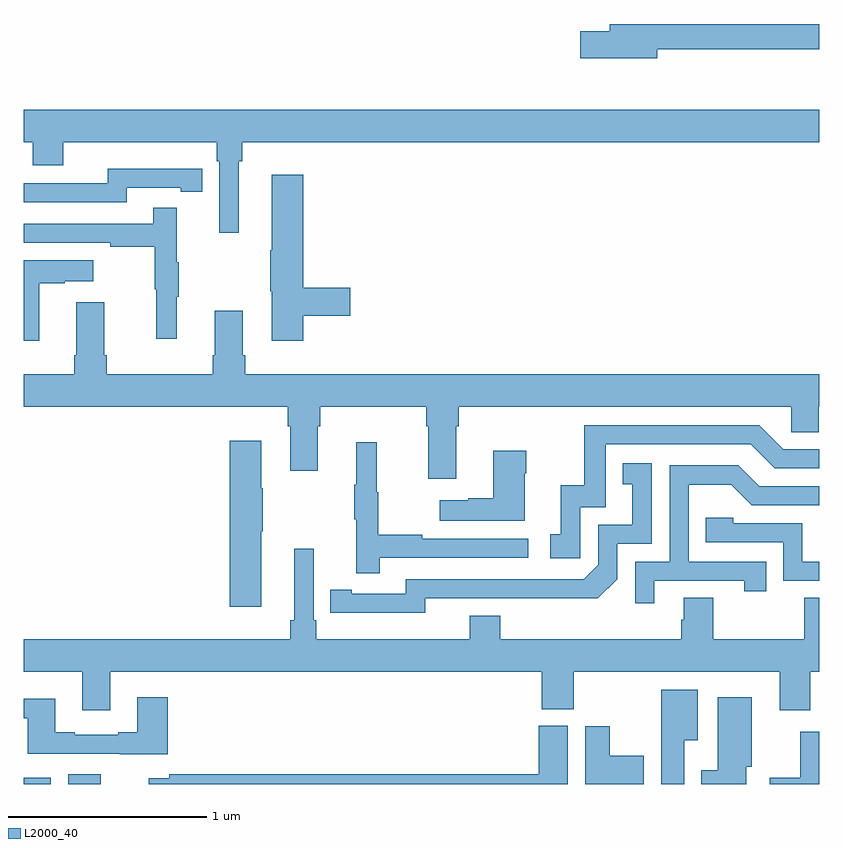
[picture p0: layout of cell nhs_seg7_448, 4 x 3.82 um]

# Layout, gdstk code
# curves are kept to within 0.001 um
import gdstk
lib = gdstk.Library(unit=1e-6, precision=1e-09)
def R(c, l, rs):  # rectangles x0, y0, x1, y1
    for r in rs: c.add(gdstk.rectangle(r[:2], r[2:], *l))
def P(c, l, *ps):  # polygons
    for p in ps: c.add(gdstk.Polygon(p, *l))
L2000_40 = (2000, 40)

nhs_seg7_448 = lib.new_cell('nhs_seg7_448')
R(nhs_seg7_448, L2000_40, [(145,1052,145.135,1052.032), (145.223,1052,145.387,1052.05)])
P(nhs_seg7_448, L2000_40, [(148.186,1055.694),(149,1055.694),(149,1055.822),(147.947,1055.822),(147.947,1055.786),(147.798,1055.786),(147.798,1055.651),(148.186,1055.651)],
  [(146.08,1055.132),(146.099,1055.132),(146.099,1055.228),(149,1055.228),(149,1055.392),(145,1055.392),(145,1055.228),(145.046,1055.228),(145.046,1055.111),(145.198,1055.111),(145.198,1055.228),(145.97,1055.228),(145.97,1055.132),(145.983,1055.132),(145.983,1054.773),(146.08,1054.773)],
  [(145.518,1054.998),(145.79,1054.998),(145.79,1054.978),(145.898,1054.978),(145.898,1055.094),(145.79,1055.094),(145.79,1055.095),(145.422,1055.095),(145.422,1055.022),(145,1055.022),(145,1054.926),(145.518,1054.926)],
  [(146.405,1054.354),(146.641,1054.354),(146.641,1054.496),(146.405,1054.496),(146.405,1055.065),(146.246,1055.065),(146.246,1054.685),(146.239,1054.685),(146.239,1054.479),(146.246,1054.479),(146.246,1054.23),(146.405,1054.23)],
  [(145.769,1054.451),(145.78,1054.451),(145.78,1054.625),(145.769,1054.625),(145.769,1054.897),(145.651,1054.897),(145.651,1054.818),(145,1054.818),(145,1054.722),(145.435,1054.722),(145.435,1054.702),(145.659,1054.702),(145.659,1054.488),(145.666,1054.488),(145.666,1054.239),(145.769,1054.239)],
  [(145.078,1054.519),(145.205,1054.519),(145.205,1054.529),(145.348,1054.529),(145.348,1054.633),(145,1054.633),(145,1054.23),(145.078,1054.23)],
  [(147.175,1053.8),(147.188,1053.8),(147.188,1053.896),(148.86,1053.896),(148.86,1053.769),(148.999,1053.769),(148.999,1053.896),(149,1053.896),(149,1054.06),(146.114,1054.06),(146.114,1054.156),(146.101,1054.156),(146.101,1054.381),(145.961,1054.381),(145.961,1054.156),(145.949,1054.156),(145.949,1054.06),(145.418,1054.06),(145.418,1054.156),(145.405,1054.156),(145.405,1054.423),(145.265,1054.423),(145.265,1054.156),(145.253,1054.156),(145.253,1054.06),(145,1054.06),(145,1053.896),(146.327,1053.896),(146.327,1053.8),(146.339,1053.8),(146.339,1053.576),(146.479,1053.576),(146.479,1053.8),(146.492,1053.8),(146.492,1053.896),(147.023,1053.896),(147.023,1053.8),(147.035,1053.8),(147.035,1053.534),(147.175,1053.534)],
  [(147.798,1053.393),(147.927,1053.393),(147.927,1053.708),(148.656,1053.708),(148.776,1053.588),(149,1053.588),(149,1053.684),(148.818,1053.684),(148.698,1053.804),(147.819,1053.804),(147.819,1053.502),(147.701,1053.502),(147.701,1053.255),(147.648,1053.255),(147.648,1053.135),(147.798,1053.135)],
  [(146.194,1053.271),(146.202,1053.271),(146.202,1053.488),(146.194,1053.488),(146.194,1053.727),(146.036,1053.727),(146.036,1052.892),(146.194,1052.892)],
  [(146.789,1053.138),(147.538,1053.138),(147.538,1053.234),(147.005,1053.234),(147.005,1053.254),(146.782,1053.254),(146.782,1053.468),(146.774,1053.468),(146.774,1053.718),(146.672,1053.718),(146.672,1053.505),(146.661,1053.505),(146.661,1053.331),(146.672,1053.331),(146.672,1053.06),(146.789,1053.06)],
  [(147.52,1053.563),(147.528,1053.563),(147.528,1053.676),(147.362,1053.676),(147.362,1053.437),(147.236,1053.437),(147.236,1053.427),(147.093,1053.427),(147.093,1053.323),(147.52,1053.323)],
  [(147.018,1052.934),(147.886,1052.933),(147.984,1053.03),(147.984,1053.207),(148.158,1053.207),(148.158,1053.613),(148.012,1053.613),(148.012,1053.507),(148.061,1053.507),(148.061,1053.303),(147.888,1053.303),(147.888,1053.102),(147.816,1053.03),(146.922,1053.03),(146.922,1052.958),(146.65,1052.958),(146.65,1052.978),(146.542,1052.978),(146.542,1052.862),(147.018,1052.861)],
  [(148.171,1053.021),(148.622,1053.021),(148.622,1052.97),(148.733,1052.97),(148.733,1053.117),(148.344,1053.117),(148.344,1053.506),(148.558,1053.506),(148.662,1053.402),(149,1053.402),(149,1053.498),(148.699,1053.498),(148.594,1053.603),(148.248,1053.603),(148.248,1053.117),(148.074,1053.117),(148.074,1052.91),(148.171,1052.91)],
  [(149,1053.117),(148.914,1053.117),(148.914,1053.312),(148.569,1053.312),(148.569,1053.339),(148.429,1053.339),(148.429,1053.216),(148.818,1053.216),(148.818,1053.021),(149,1053.021)],
  [(145,1052.564),(145.295,1052.564),(145.295,1052.37),(145.435,1052.37),(145.435,1052.564),(147.605,1052.564),(147.605,1052.377),(147.765,1052.377),(147.765,1052.564),(148.802,1052.564),(148.802,1052.37),(148.955,1052.37),(148.955,1052.564),(149,1052.564),(149,1052.936),(148.924,1052.936),(148.924,1052.728),(148.467,1052.728),(148.467,1052.936),(148.319,1052.936),(148.319,1052.826),(148.307,1052.826),(148.307,1052.728),(147.395,1052.728),(147.395,1052.845),(147.242,1052.845),(147.242,1052.728),(146.471,1052.728),(146.471,1052.824),(146.457,1052.824),(146.457,1053.184),(146.36,1053.184),(146.36,1052.824),(146.341,1052.824),(146.341,1052.728),(145,1052.728)],
  [(148.321,1052.219),(148.39,1052.219),(148.39,1052.473),(148.205,1052.473),(148.205,1052),(148.321,1052)],
  [(148.633,1052.088),(148.66,1052.088),(148.66,1052.437),(148.49,1052.437),(148.49,1052.068),(148.406,1052.068),(148.406,1052),(148.633,1052)],
  [(145.724,1052.437),(145.571,1052.437),(145.571,1052.26),(145.475,1052.26),(145.475,1052.247),(145.255,1052.247),(145.255,1052.26),(145.159,1052.26),(145.159,1052.428),(145,1052.428),(145,1052.331),(145.019,1052.331),(145.019,1052.151),(145.483,1052.151),(145.483,1052.15),(145.724,1052.15)],
  [(147.736,1052.292),(147.59,1052.292),(147.59,1052.048),(145.732,1052.048),(145.732,1052.028),(145.629,1052.028),(145.629,1052),(147.736,1052)],
  [(148.117,1052.143),(147.946,1052.143),(147.946,1052.29),(147.824,1052.29),(147.824,1052),(148.117,1052)],
  [(149,1052.263),(148.904,1052.263),(148.904,1052.031),(148.752,1052.031),(148.752,1052),(149,1052)])

lib.write_gds('nhs_seg7_448.gds')
